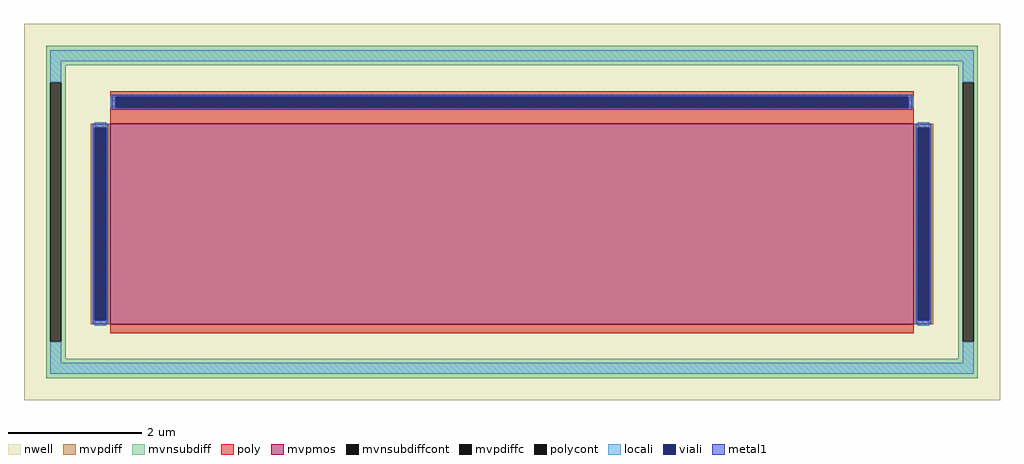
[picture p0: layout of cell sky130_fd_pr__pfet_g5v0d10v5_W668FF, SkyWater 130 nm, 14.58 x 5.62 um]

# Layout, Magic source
magic
tech sky130A
magscale 1 2
<< nwell >>
rect -1458 -562 1458 562
<< mvpmos >>
rect -1200 -336 1200 264
<< mvpdiff >>
rect -1258 252 -1200 264
rect -1258 -324 -1246 252
rect -1212 -324 -1200 252
rect -1258 -336 -1200 -324
rect 1200 252 1258 264
rect 1200 -324 1212 252
rect 1246 -324 1258 252
rect 1200 -336 1258 -324
<< mvpdiffc >>
rect -1246 -324 -1212 252
rect 1212 -324 1246 252
<< mvnsubdiff >>
rect -1392 438 1392 496
rect -1392 388 -1334 438
rect -1392 -388 -1380 388
rect -1346 -388 -1334 388
rect 1334 388 1392 438
rect -1392 -438 -1334 -388
rect 1334 -388 1346 388
rect 1380 -388 1392 388
rect 1334 -438 1392 -388
rect -1392 -496 1392 -438
<< mvnsubdiffcont >>
rect -1380 -388 -1346 388
rect 1346 -388 1380 388
<< poly >>
rect -1200 345 1200 361
rect -1200 311 -1184 345
rect 1184 311 1200 345
rect -1200 264 1200 311
rect -1200 -362 1200 -336
<< polycont >>
rect -1184 311 1184 345
<< locali >>
rect -1380 450 1380 484
rect -1380 388 -1346 450
rect 1346 388 1380 450
rect -1200 311 -1184 345
rect 1184 311 1200 345
rect -1246 252 -1212 268
rect -1246 -340 -1212 -324
rect 1212 252 1246 268
rect 1212 -340 1246 -324
rect -1380 -450 -1346 -388
rect 1346 -450 1380 -388
rect -1380 -484 1380 -450
<< viali >>
rect -1184 311 1184 345
rect -1246 -324 -1212 252
rect 1212 -324 1246 252
<< metal1 >>
rect -1196 345 1196 351
rect -1196 311 -1184 345
rect 1184 311 1196 345
rect -1196 305 1196 311
rect -1252 252 -1206 264
rect -1252 -324 -1246 252
rect -1212 -324 -1206 252
rect -1252 -336 -1206 -324
rect 1206 252 1252 264
rect 1206 -324 1212 252
rect 1246 -324 1252 252
rect 1206 -336 1252 -324
<< properties >>
string FIXED_BBOX -1363 -467 1363 467
string gencell sky130_fd_pr__pfet_g5v0d10v5
string library sky130
string parameters w 3 l 12 m 1 nf 1 diffcov 100 polycov 100 guard 1 glc 1 grc 1 gtc 0 gbc 0 tbcov 100 rlcov 100 topc 1 botc 0 poverlap 0 doverlap 1 lmin 0.50 wmin 0.42 compatible {sky130_fd_pr__pfet_01v8  sky130_fd_pr__pfet_01v8_lvt sky130_fd_pr__pfet_01v8_hvt  sky130_fd_pr__pfet_g5v0d10v5} full_metal 1 viasrc 100 viadrn 100 viagate 100 viagb 0 viagr 0 viagl 0 viagt 0
<< end >>
